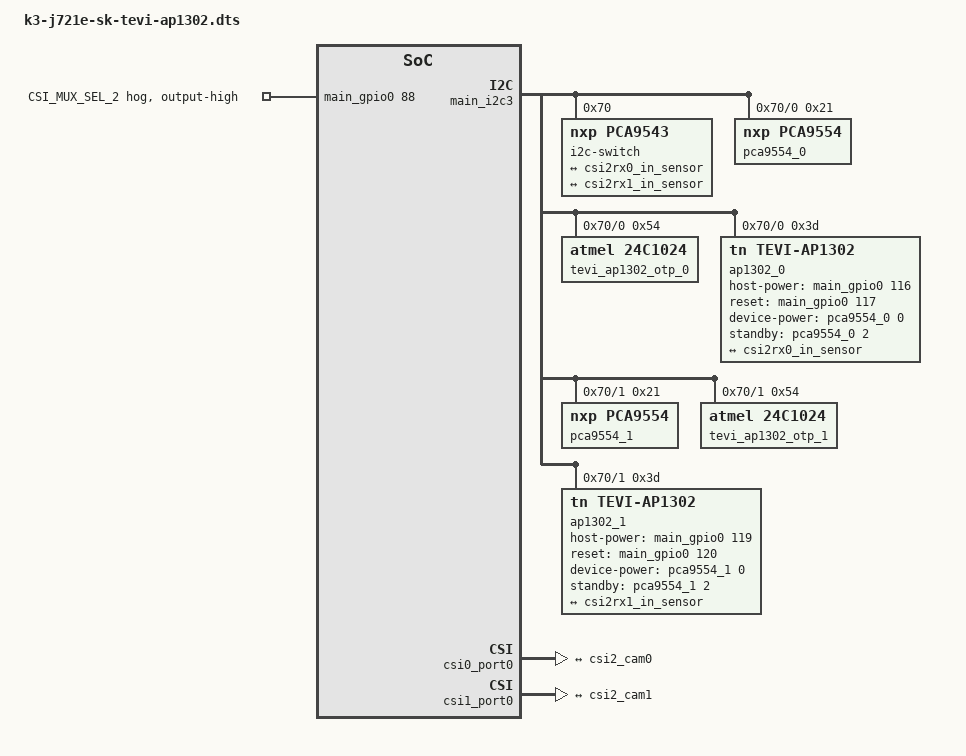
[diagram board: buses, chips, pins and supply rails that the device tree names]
// SPDX-License-Identifier: GPL-2.0
/**
 * DT Overlay for Technexion AR series camera interfaced with CSI2 on J721E-EAIK board.
 *
 * Copyright (C) 2022 Technexion Ltd.
 */

/dts-v1/;
/plugin/;

#include <dt-bindings/gpio/gpio.h>
#include <dt-bindings/interrupt-controller/irq.h>
#include <dt-bindings/pinctrl/k3.h>

&main_pmx0 {
	main_rpi_cam0_pins_default: main-rpi-cam0-pins-default {
		pinctrl-single,pins = <
			J721E_IOPAD(0x1D4, PIN_OUTPUT, 7) /* (Y3) SPI1_CS0 */
			J721E_IOPAD(0x1D8, PIN_OUTPUT, 7) /* (W4) SPI1_CS1 */

		>;
	};

	main_rpi_cam1_pins_default: main-rpi-cam1-pins-default {
		pinctrl-single,pins = <
			J721E_IOPAD(0x1E0, PIN_OUTPUT, 7) /* (Y5) SPI1_D0 */
			J721E_IOPAD(0x1E4, PIN_OUTPUT, 7) /* (Y2) SPI1_D1 */

		>;
	};

	main_csi_mux_sel2_pins_default: main-csi-mux-sel2-pins-default {
		pinctrl-single,pins = <
			J721E_IOPAD(0x164, PIN_OUTPUT, 7) /* (V29) RGMII5_TD2 */
		>;
	};
};

&main_gpio0 {
	pinctrl-names = "default";
	pinctrl-0 = <&main_csi_mux_sel2_pins_default>;

	csi-mux-hog {
		/* CSI_MUX_SEL_2 */
		gpio-hog;
		gpios = <88 GPIO_ACTIVE_HIGH>;
		output-high;
		line-name = "CSI_MUX_SEL_2";
	};
};

&main_i2c3 {
	#address-cells = <1>;
	#size-cells = <0>;

	i2c-switch@70 {
		compatible = "nxp,pca9543";
		#address-cells = <1>;
		#size-cells = <0>;
		reg = <0x70>;

		i2c-alias-pool = /bits/ 16 <0x10 0x11>;

		/* CAM0 I2C */
		cam0_i2c: i2c@0 {
			#address-cells = <1>;
			#size-cells = <0>;
			reg = <0>;

			pca9554_0: pca9554_0@21 {
				compatible = "nxp,pca9554";
				reg = <0x21>;
				gpio-controller;
				#gpio-cells = <2>;
				status = "okay";
			};

			tevi_ap1302_otp_0: tevi_ap1302_otpi_0@54 {
				compatible = "atmel,24c1024";
				reg = <0x54>;
				pagesize = <128>;
				status = "okay";
			};

			ap1302_0: ap1302_0@3d {
				compatible = "tn,tevi-ap1302";
				reg = <0x3d>;

				pinctrl-names = "default";
				pinctrl-0 = <&main_rpi_cam0_pins_default>;

				host-power-gpios = <&main_gpio0 116 GPIO_ACTIVE_HIGH>;
				reset-gpios = <&main_gpio0 117 GPIO_ACTIVE_HIGH>;
				device-power-gpios = <&pca9554_0 0 GPIO_ACTIVE_HIGH>;
				standby-gpios = <&pca9554_0 2 GPIO_ACTIVE_HIGH>;

				nvmem = <&tevi_ap1302_otp_0>;
				nvmem-names = "calib-data";
				pixel-rate = <61430400>; /* 61.43MHz */
				data-lanes = <2>;
				continuous-clock = <0>;
				status = "okay";


				port {
					csi2_cam0: endpoint {
						remote-endpoint = <&csi2rx0_in_sensor>;
						clock-lanes = <0>;
						data-lanes = <1 2>;
					};
				};
			};
		};

		/* CAM1 I2C */
		cam1_i2c: i2c@1 {
			#address-cells = <1>;
			#size-cells = <0>;
			reg = <1>;

			pca9554_1: pca9554_1@21 {
				compatible = "nxp,pca9554";
				reg = <0x21>;
				gpio-controller;
				#gpio-cells = <2>;
				status = "okay";
			};

			tevi_ap1302_otp_1: tevi_ap1302_otp_1@54 {
				compatible = "atmel,24c1024";
				reg = <0x54>;
				pagesize = <128>;
				status = "okay";
			};

			ap1302_1: ap1302_1@3d {
				compatible = "tn,tevi-ap1302";
				reg = <0x3d>;

				pinctrl-names = "default";
				pinctrl-0 = <&main_rpi_cam1_pins_default>;

				host-power-gpios = <&main_gpio0 119 GPIO_ACTIVE_HIGH>;
				reset-gpios = <&main_gpio0 120 GPIO_ACTIVE_HIGH>;
				device-power-gpios = <&pca9554_1 0 GPIO_ACTIVE_HIGH>;
				standby-gpios = <&pca9554_1 2 GPIO_ACTIVE_HIGH>;

				nvmem = <&tevi_ap1302_otp_1>;
				nvmem-names = "calib-data";
				data-lanes = <2>;
				continuous-clock = <0>;
				status = "okay";

				port {
					csi2_cam1: endpoint {
						remote-endpoint = <&csi2rx1_in_sensor>;
						clock-lanes = <0>;
						data-lanes = <1 2>;
					};
				};
			};
		};
	};
};

&csi0_port0 {
	status = "okay";
	csi2rx0_in_sensor: endpoint {
		remote-endpoint = <&csi2_cam0>;
		bus-type = <4>; /* CSI2 DPHY. */
		clock-lanes = <0>;
		data-lanes = <1 2>;
	};
};

&csi1_port0 {
	status = "okay";
	csi2rx1_in_sensor: endpoint {
		remote-endpoint = <&csi2_cam1>;
		bus-type = <4>; /* CSI2 DPHY. */
		clock-lanes = <0>;
		data-lanes = <1 2>;
	};
};
